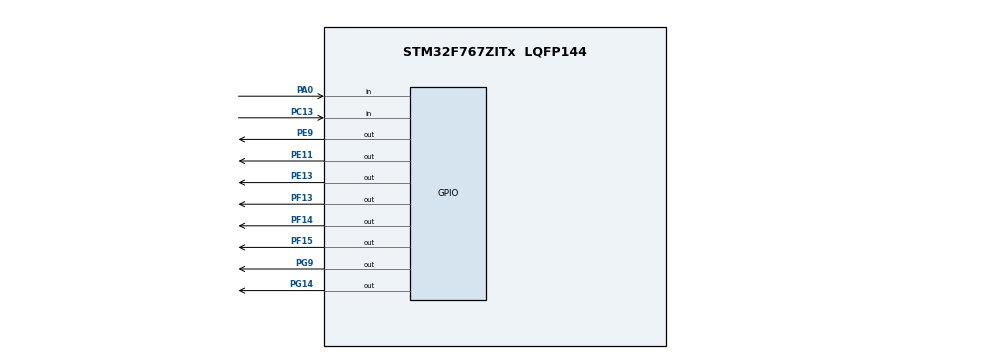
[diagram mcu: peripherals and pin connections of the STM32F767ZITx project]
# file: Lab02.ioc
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Mcu.Family=STM32F7
Mcu.Name=STM32F767ZITx
Mcu.Package=LQFP144
NVIC.PriorityGroup=NVIC_PRIORITYGROUP_4
PA0/WKUP.Signal=GPIO_Input
PC13.Signal=GPIO_Input
PE11.GPIO_PuPd=GPIO_NOPULL
PE11.PinState=GPIO_PIN_SET
PE11.Signal=GPIO_Output
PE13.GPIO_PuPd=GPIO_NOPULL
PE13.PinState=GPIO_PIN_SET
PE13.Signal=GPIO_Output
PE9.GPIO_PuPd=GPIO_NOPULL
PE9.PinState=GPIO_PIN_SET
PE9.Signal=GPIO_Output
PF13.GPIO_PuPd=GPIO_NOPULL
PF13.PinState=GPIO_PIN_SET
PF13.Signal=GPIO_Output
PF14.GPIO_PuPd=GPIO_NOPULL
PF14.PinState=GPIO_PIN_SET
PF14.Signal=GPIO_Output
PF15.GPIO_PuPd=GPIO_NOPULL
PF15.PinState=GPIO_PIN_SET
PF15.Signal=GPIO_Output
PG14.GPIO_PuPd=GPIO_NOPULL
PG14.PinState=GPIO_PIN_SET
PG14.Signal=GPIO_Output
PG9.GPIO_PuPd=GPIO_NOPULL
PG9.PinState=GPIO_PIN_SET
PG9.Signal=GPIO_Output
ProjectManager.HeapSize=0x200
ProjectManager.StackSize=0x400
ProjectManager.TargetToolchain=STM32CubeIDE
RCC.AHBFreq_Value=216000000
RCC.APB1CLKDivider=RCC_HCLK_DIV4
RCC.APB1Freq_Value=54000000
RCC.APB1TimFreq_Value=108000000
RCC.APB2CLKDivider=RCC_HCLK_DIV2
RCC.APB2Freq_Value=108000000
RCC.APB2TimFreq_Value=216000000
RCC.CortexFreq_Value=216000000
RCC.HCLKFreq_Value=216000000
RCC.HSE_VALUE=25000000
RCC.HSI_VALUE=16000000
RCC.LSE_VALUE=32768
RCC.PLLM=8
RCC.PLLN=216
RCC.SYSCLKFreq_VALUE=216000000
RCC.SYSCLKSource=RCC_SYSCLKSOURCE_PLLCLK
RCC.USBFreq_Value=216000000
RCC.VCOOutputFreq_Value=432000000
board=custom

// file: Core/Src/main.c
/* USER CODE BEGIN Header */
/**
 ******************************************************************************
 * @file           : main.c
 * @brief          : Main program body
 ******************************************************************************
 * @attention
 *
 * Copyright (c) 2022 STMicroelectronics.
 * All rights reserved.
 *
 * This software is licensed under terms that can be found in the LICENSE file
 * in the root directory of this software component.
 * If no LICENSE file comes with this software, it is provided AS-IS.
 *
 ******************************************************************************
 */
/* USER CODE END Header */
#include "main.h"
#include "gpio.h"

/* USER CODE BEGIN PV */
uint8_t count = 7;
/* USER CODE END PV */

void SystemClock_Config(void);

int main(void) {

	/* MCU Configuration--------------------------------------------------------*/

	/* Reset of all peripherals, Initializes the Flash interface and the Systick. */
	HAL_Init();

	/* Configure the system clock */
	SystemClock_Config();

	/* Initialize all configured peripherals */
	MX_GPIO_Init();

	/* Infinite loop */
	while (1) {

		/* USER CODE BEGIN 3 */
		/*
		 if(HAL_GPIO_ReadPin(GPIOA, GPIO_PIN_0) == GPIO_PIN_RESET) {
		 HAL_GPIO_WritePin(GPIOF, GPIO_PIN_13, GPIO_PIN_RESET);
		 HAL_Delay(500);
		 HAL_GPIO_WritePin(GPIOF, GPIO_PIN_13, GPIO_PIN_SET);
		 HAL_GPIO_WritePin(GPIOE, GPIO_PIN_9, GPIO_PIN_RESET);
		 HAL_Delay(500);
		 HAL_GPIO_WritePin(GPIOE, GPIO_PIN_9, GPIO_PIN_SET);
		 HAL_GPIO_WritePin(GPIOE, GPIO_PIN_11, GPIO_PIN_RESET);
		 HAL_Delay(500);
		 HAL_GPIO_WritePin(GPIOE, GPIO_PIN_11, GPIO_PIN_SET);
		 HAL_GPIO_WritePin(GPIOF, GPIO_PIN_14, GPIO_PIN_RESET);
		 HAL_Delay(500);
		 HAL_GPIO_WritePin(GPIOF, GPIO_PIN_14, GPIO_PIN_SET);
		 HAL_GPIO_WritePin(GPIOE, GPIO_PIN_13, GPIO_PIN_RESET);
		 HAL_Delay(500);
		 HAL_GPIO_WritePin(GPIOE, GPIO_PIN_13, GPIO_PIN_SET);
		 HAL_GPIO_WritePin(GPIOF, GPIO_PIN_15, GPIO_PIN_RESET);
		 HAL_Delay(500);
		 HAL_GPIO_WritePin(GPIOF, GPIO_PIN_15, GPIO_PIN_SET);
		 HAL_GPIO_WritePin(GPIOG, GPIO_PIN_14, GPIO_PIN_RESET);
		 HAL_Delay(500);
		 HAL_GPIO_WritePin(GPIOG, GPIO_PIN_14, GPIO_PIN_SET);
		 HAL_GPIO_WritePin(GPIOG, GPIO_PIN_9, GPIO_PIN_RESET);
		 HAL_Delay(500);
		 HAL_GPIO_WritePin(GPIOG, GPIO_PIN_9, GPIO_PIN_SET);
		 }
		 if(HAL_GPIO_ReadPin(GPIOC, GPIO_PIN_13) == GPIO_PIN_SET) {
		 HAL_Delay(300);
		 count++;
		 if(count>7)
		 count=0;
		 if(count == 0) {
		 HAL_GPIO_WritePin(GPIOF, GPIO_PIN_13, GPIO_PIN_SET);
		 HAL_GPIO_WritePin(GPIOG, GPIO_PIN_9, GPIO_PIN_RESET);
		 }
		 if(count == 1) {
		 HAL_GPIO_WritePin(GPIOG, GPIO_PIN_9, GPIO_PIN_SET);
		 HAL_GPIO_WritePin(GPIOG, GPIO_PIN_14, GPIO_PIN_RESET);
		 }
		 if(count == 2) {
		 HAL_GPIO_WritePin(GPIOG, GPIO_PIN_14, GPIO_PIN_SET);
		 HAL_GPIO_WritePin(GPIOF, GPIO_PIN_15, GPIO_PIN_RESET);
		 }
		 if(count == 3) {
		 HAL_GPIO_WritePin(GPIOF, GPIO_PIN_15, GPIO_PIN_SET);
		 HAL_GPIO_WritePin(GPIOE, GPIO_PIN_13, GPIO_PIN_RESET);
		 }
		 if(count == 4) {
		 HAL_GPIO_WritePin(GPIOE, GPIO_PIN_13, GPIO_PIN_SET);
		 HAL_GPIO_WritePin(GPIOF, GPIO_PIN_14, GPIO_PIN_RESET);
		 }
		 if(count == 5) {
		 HAL_GPIO_WritePin(GPIOF, GPIO_PIN_14, GPIO_PIN_SET);
		 HAL_GPIO_WritePin(GPIOE, GPIO_PIN_11, GPIO_PIN_RESET);
		 }
		 if(count == 6) {
		 HAL_GPIO_WritePin(GPIOE, GPIO_PIN_11, GPIO_PIN_SET);
		 HAL_GPIO_WritePin(GPIOE, GPIO_PIN_9, GPIO_PIN_RESET);
		 }
		 if(count == 7) {
		 HAL_GPIO_WritePin(GPIOE, GPIO_PIN_9, GPIO_PIN_SET);
		 HAL_GPIO_WritePin(GPIOF, GPIO_PIN_13, GPIO_PIN_RESET);
		 }

		 }
		 }*/

		HAL_GPIO_WritePin(GPIOF, GPIO_PIN_13, GPIO_PIN_SET);
		HAL_GPIO_WritePin(GPIOG, GPIO_PIN_9, GPIO_PIN_SET);
		HAL_Delay(500);
		HAL_GPIO_WritePin(GPIOF, GPIO_PIN_13, GPIO_PIN_RESET);
		HAL_GPIO_WritePin(GPIOG, GPIO_PIN_9, GPIO_PIN_RESET);
		HAL_Delay(500);
		HAL_GPIO_WritePin(GPIOG, GPIO_PIN_14, GPIO_PIN_SET);
		HAL_GPIO_WritePin(GPIOE, GPIO_PIN_9, GPIO_PIN_SET);
		HAL_Delay(500);
		HAL_GPIO_WritePin(GPIOG, GPIO_PIN_14, GPIO_PIN_RESET);
		HAL_GPIO_WritePin(GPIOE, GPIO_PIN_9, GPIO_PIN_RESET);
		HAL_Delay(500);
		HAL_GPIO_WritePin(GPIOF, GPIO_PIN_15, GPIO_PIN_SET);
		HAL_GPIO_WritePin(GPIOE, GPIO_PIN_11, GPIO_PIN_SET);
		HAL_Delay(500);
		HAL_GPIO_WritePin(GPIOF, GPIO_PIN_15, GPIO_PIN_RESET);
		HAL_GPIO_WritePin(GPIOE, GPIO_PIN_11, GPIO_PIN_RESET);
		HAL_Delay(500);
		HAL_GPIO_WritePin(GPIOF, GPIO_PIN_14, GPIO_PIN_SET);
		HAL_GPIO_WritePin(GPIOE, GPIO_PIN_13, GPIO_PIN_SET);
		HAL_Delay(500);
		HAL_GPIO_WritePin(GPIOF, GPIO_PIN_14, GPIO_PIN_RESET);
		HAL_GPIO_WritePin(GPIOE, GPIO_PIN_13, GPIO_PIN_RESET);
		HAL_Delay(500);
		/* USER CODE END 3 */
	}

	/**
	 * @brief System Clock Configuration
	 * @retval None
	 */
	void SystemClock_Config(void) {
		RCC_OscInitTypeDef RCC_OscInitStruct = { 0 };
		RCC_ClkInitTypeDef RCC_ClkInitStruct = { 0 };

		/** Configure the main internal regulator output voltage
		 */
		__HAL_RCC_PWR_CLK_ENABLE();
		__HAL_PWR_VOLTAGESCALING_CONFIG(PWR_REGULATOR_VOLTAGE_SCALE1);
		/** Initializes the RCC Oscillators according to the specified parameters
		 * in the RCC_OscInitTypeDef structure.
		 */
		RCC_OscInitStruct.OscillatorType = RCC_OSCILLATORTYPE_HSI;
		RCC_OscInitStruct.HSIState = RCC_HSI_ON;
		RCC_OscInitStruct.HSICalibrationValue = RCC_HSICALIBRATION_DEFAULT;
		RCC_OscInitStruct.PLL.PLLState = RCC_PLL_ON;
		RCC_OscInitStruct.PLL.PLLSource = RCC_PLLSOURCE_HSI;
		RCC_OscInitStruct.PLL.PLLM = 8;
		RCC_OscInitStruct.PLL.PLLN = 216;
		RCC_OscInitStruct.PLL.PLLP = RCC_PLLP_DIV2;
		RCC_OscInitStruct.PLL.PLLQ = 2;
		RCC_OscInitStruct.PLL.PLLR = 2;
		if (HAL_RCC_OscConfig(&RCC_OscInitStruct) != HAL_OK) {
			Error_Handler();
		}
		/** Activate the Over-Drive mode
		 */
		if (HAL_PWREx_EnableOverDrive() != HAL_OK) {
			Error_Handler();
		}
		/** Initializes the CPU, AHB and APB buses clocks
		 */
		RCC_ClkInitStruct.ClockType = RCC_CLOCKTYPE_HCLK | RCC_CLOCKTYPE_SYSCLK
				| RCC_CLOCKTYPE_PCLK1 | RCC_CLOCKTYPE_PCLK2;
		RCC_ClkInitStruct.SYSCLKSource = RCC_SYSCLKSOURCE_PLLCLK;
		RCC_ClkInitStruct.AHBCLKDivider = RCC_SYSCLK_DIV1;
		RCC_ClkInitStruct.APB1CLKDivider = RCC_HCLK_DIV4;
		RCC_ClkInitStruct.APB2CLKDivider = RCC_HCLK_DIV2;

		if (HAL_RCC_ClockConfig(&RCC_ClkInitStruct, FLASH_LATENCY_7)
				!= HAL_OK) {
			Error_Handler();
		}
	}

	/**
	 * @brief  This function is executed in case of error occurrence.
	 * @retval None
	 */
	void Error_Handler(void) {
		__disable_irq();
		while (1) {
		}
	}
